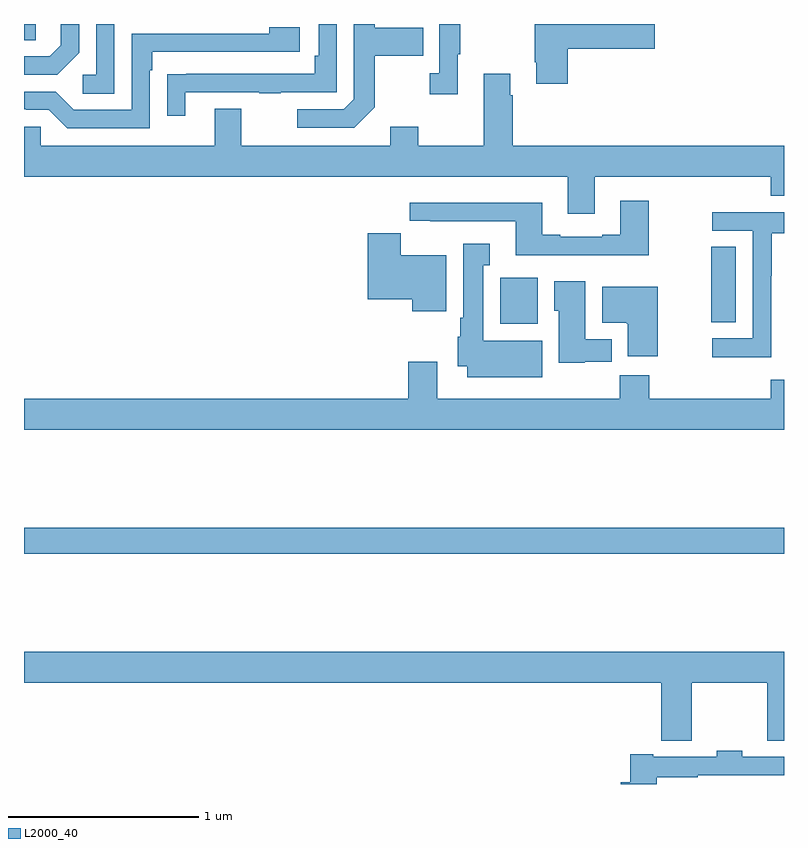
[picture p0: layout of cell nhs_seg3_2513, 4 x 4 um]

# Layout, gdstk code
import gdstk
lib = gdstk.Library(unit=1e-6, precision=1e-09)
def R(c, l, rs):  # rectangles x0, y0, x1, y1
    for r in rs: c.add(gdstk.rectangle(r[:2], r[2:], *l))
def P(c, l, *ps):  # polygons
    for p in ps: c.add(gdstk.Polygon(p, *l))
L2000_40 = (2000, 40)

nhs_seg3_2513 = lib.new_cell('nhs_seg3_2513')
R(nhs_seg3_2513, L2000_40, [(241,685.612,245,685.748), (243.506,686.822,243.703,687.064), (244.616,686.83,244.747,687.227), (241,688.315,241.062,688.4)])
P(nhs_seg3_2513, L2000_40, [(242.845,687.961),(242.845,688.234),(243.101,688.234),(243.101,688.381),(242.845,688.381),(242.845,688.4),(242.736,688.4),(242.736,688.005),(242.682,687.951),(242.439,687.951),(242.439,687.855),(242.739,687.855)],
  [(241.849,688.041),(242.239,688.041),(242.239,688.036),(242.351,688.036),(242.351,688.041),(242.646,688.041),(242.646,688.4),(242.55,688.4),(242.55,688.234),(242.53,688.234),(242.53,688.137),(241.855,688.137),(241.855,688.136),(241.753,688.136),(241.753,687.918),(241.849,687.918)],
  [(241.476,688.4),(241.38,688.4),(241.38,688.134),(241.308,688.134),(241.308,688.033),(241.476,688.033)],
  [(243.283,688.241),(243.295,688.241),(243.295,688.4),(243.186,688.4),(243.186,688.142),(243.135,688.142),(243.135,688.029),(243.283,688.029)],
  [(241.29,688.25),(241.29,688.4),(241.193,688.4),(241.193,688.287),(241.136,688.23),(241,688.23),(241,688.134),(241.174,688.134)],
  [(243.863,688.271),(244.321,688.271),(244.321,688.4),(243.688,688.4),(243.688,688.198),(243.695,688.198),(243.695,688.086),(243.863,688.086)],
  [(241.662,688.157),(241.675,688.157),(241.675,688.254),(242.452,688.254),(242.452,688.384),(242.291,688.384),(242.291,688.35),(241.566,688.35),(241.566,687.948),(241.263,687.948),(241.167,688.044),(241,688.044),(241,687.951),(241.013,687.951),(241.013,687.948),(241.131,687.948),(241.227,687.852),(241.662,687.852)],
  [(244.003,687.596),(244.931,687.596),(244.931,687.497),(245,687.497),(245,687.76),(243.572,687.76),(243.572,688.025),(243.559,688.025),(243.559,688.138),(243.419,688.138),(243.419,687.76),(243.075,687.76),(243.075,687.859),(242.927,687.859),(242.927,687.76),(242.143,687.76),(242.143,687.955),(242.003,687.955),(242.003,687.76),(241.089,687.76),(241.089,687.858),(241,687.858),(241,687.596),(243.863,687.596),(243.863,687.402),(244.003,687.402)],
  [(244.287,687.469),(244.139,687.469),(244.139,687.292),(244.043,687.292),(244.043,687.279),(243.823,687.279),(243.823,687.292),(243.727,687.292),(243.727,687.46),(243.03,687.46),(243.03,687.365),(243.139,687.365),(243.139,687.363),(243.587,687.363),(243.587,687.182),(244.287,687.182)],
  [(244.932,687.076),(244.935,687.076),(244.935,687.3),(245,687.3),(245,687.408),(244.623,687.408),(244.623,687.312),(244.836,687.312),(244.836,686.745),(244.623,686.745),(244.623,686.647),(244.932,686.647)],
  [(243.223,687.184),(242.983,687.184),(242.983,687.3),(242.81,687.3),(242.81,686.951),(243.044,686.951),(243.044,686.888),(243.223,686.888)],
  [(243.727,686.734),(243.418,686.734),(243.418,687.131),(243.451,687.131),(243.451,687.244),(243.311,687.244),(243.311,686.854),(243.296,686.854),(243.296,686.754),(243.284,686.754),(243.284,686.6),(243.332,686.6),(243.332,686.54),(243.727,686.54)],
  [(243.951,686.622),(244.093,686.622),(244.093,686.74),(243.955,686.74),(243.955,687.046),(243.791,687.046),(243.791,686.892),(243.815,686.892),(243.815,686.618),(243.951,686.618)],
  [(244.336,687.016),(244.043,687.016),(244.043,686.828),(244.172,686.828),(244.172,686.822),(244.178,686.822),(244.178,686.652),(244.336,686.652)],
  [(245,686.527),(244.931,686.527),(244.931,686.428),(244.292,686.428),(244.292,686.552),(244.135,686.552),(244.135,686.428),(243.175,686.428),(243.175,686.623),(243.023,686.623),(243.023,686.428),(241,686.428),(241,686.264),(245,686.264)],
  [(244.514,684.932),(244.912,684.932),(244.912,684.628),(245,684.628),(245,685.096),(241,685.096),(241,684.932),(244.355,684.932),(244.355,684.628),(244.514,684.628)],
  [(244.33,684.435),(244.547,684.435),(244.547,684.447),(245,684.447),(245,684.543),(244.779,684.543),(244.779,684.576),(244.647,684.576),(244.647,684.543),(244.312,684.543),(244.312,684.556),(244.191,684.556),(244.191,684.409),(244.142,684.409),(244.142,684.4),(244.33,684.4)])

lib.write_gds('nhs_seg3_2513.gds')
